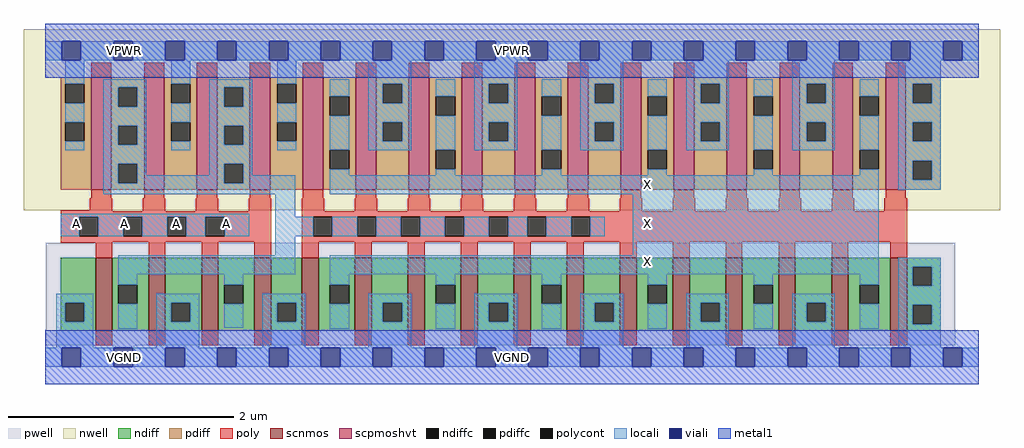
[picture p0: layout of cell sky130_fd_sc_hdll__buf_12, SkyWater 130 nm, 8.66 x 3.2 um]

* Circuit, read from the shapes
.subckt sky130_fd_sc_hdll__buf_12 A VGND VNB VPB VPWR X
XM1 n1 A VGND VNB sky130_fd_pr__nfet_01v8 w=0.65 l=0.15 m=4
XM2 X n1 VGND VNB sky130_fd_pr__nfet_01v8 w=0.65 l=0.15 m=12
XM3 n1 A VPWR VPB sky130_fd_pr__pfet_01v8_hvt w=1 l=0.18 m=4
XM4 X n1 VPWR VPB sky130_fd_pr__pfet_01v8_hvt w=1 l=0.18 m=12
.ends

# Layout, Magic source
magic
tech sky130A
magscale 1 2
<< nwell >>
rect -38 261 1694 582
<< pwell >>
rect 1 21 1615 203
rect 124 -17 158 21
<< scnmos >>
rect 89 47 119 177
rect 183 47 213 177
rect 277 47 307 177
rect 371 47 401 177
rect 455 47 485 177
rect 549 47 579 177
rect 643 47 673 177
rect 737 47 767 177
rect 831 47 861 177
rect 925 47 955 177
rect 1019 47 1049 177
rect 1113 47 1143 177
rect 1207 47 1237 177
rect 1301 47 1331 177
rect 1395 47 1425 177
rect 1499 47 1529 177
<< scpmoshvt >>
rect 81 297 117 497
rect 175 297 211 497
rect 269 297 305 497
rect 363 297 399 497
rect 457 297 493 497
rect 551 297 587 497
rect 645 297 681 497
rect 739 297 775 497
rect 833 297 869 497
rect 927 297 963 497
rect 1021 297 1057 497
rect 1115 297 1151 497
rect 1209 297 1245 497
rect 1303 297 1339 497
rect 1397 297 1433 497
rect 1491 297 1527 497
<< ndiff >>
rect 27 97 89 177
rect 27 63 35 97
rect 69 63 89 97
rect 27 47 89 63
rect 119 129 183 177
rect 119 95 129 129
rect 163 95 183 129
rect 119 47 183 95
rect 213 97 277 177
rect 213 63 223 97
rect 257 63 277 97
rect 213 47 277 63
rect 307 129 371 177
rect 307 95 317 129
rect 351 95 371 129
rect 307 47 371 95
rect 401 97 455 177
rect 401 63 411 97
rect 445 63 455 97
rect 401 47 455 63
rect 485 129 549 177
rect 485 95 505 129
rect 539 95 549 129
rect 485 47 549 95
rect 579 97 643 177
rect 579 63 599 97
rect 633 63 643 97
rect 579 47 643 63
rect 673 129 737 177
rect 673 95 693 129
rect 727 95 737 129
rect 673 47 737 95
rect 767 97 831 177
rect 767 63 787 97
rect 821 63 831 97
rect 767 47 831 63
rect 861 129 925 177
rect 861 95 881 129
rect 915 95 925 129
rect 861 47 925 95
rect 955 97 1019 177
rect 955 63 975 97
rect 1009 63 1019 97
rect 955 47 1019 63
rect 1049 129 1113 177
rect 1049 95 1069 129
rect 1103 95 1113 129
rect 1049 47 1113 95
rect 1143 97 1207 177
rect 1143 63 1163 97
rect 1197 63 1207 97
rect 1143 47 1207 63
rect 1237 129 1301 177
rect 1237 95 1257 129
rect 1291 95 1301 129
rect 1237 47 1301 95
rect 1331 97 1395 177
rect 1331 63 1351 97
rect 1385 63 1395 97
rect 1331 47 1395 63
rect 1425 129 1499 177
rect 1425 95 1445 129
rect 1479 95 1499 129
rect 1425 47 1499 95
rect 1529 161 1589 177
rect 1529 127 1539 161
rect 1573 127 1589 161
rect 1529 93 1589 127
rect 1529 59 1539 93
rect 1573 59 1589 93
rect 1529 47 1589 59
<< pdiff >>
rect 27 485 81 497
rect 27 451 35 485
rect 69 451 81 485
rect 27 417 81 451
rect 27 383 35 417
rect 69 383 81 417
rect 27 297 81 383
rect 117 479 175 497
rect 117 445 129 479
rect 163 445 175 479
rect 117 411 175 445
rect 117 377 129 411
rect 163 377 175 411
rect 117 343 175 377
rect 117 309 129 343
rect 163 309 175 343
rect 117 297 175 309
rect 211 485 269 497
rect 211 451 223 485
rect 257 451 269 485
rect 211 417 269 451
rect 211 383 223 417
rect 257 383 269 417
rect 211 297 269 383
rect 305 479 363 497
rect 305 445 317 479
rect 351 445 363 479
rect 305 411 363 445
rect 305 377 317 411
rect 351 377 363 411
rect 305 343 363 377
rect 305 309 317 343
rect 351 309 363 343
rect 305 297 363 309
rect 399 485 457 497
rect 399 451 411 485
rect 445 451 457 485
rect 399 417 457 451
rect 399 383 411 417
rect 445 383 457 417
rect 399 297 457 383
rect 493 463 551 497
rect 493 429 505 463
rect 539 429 551 463
rect 493 368 551 429
rect 493 334 505 368
rect 539 334 551 368
rect 493 297 551 334
rect 587 485 645 497
rect 587 451 599 485
rect 633 451 645 485
rect 587 417 645 451
rect 587 383 599 417
rect 633 383 645 417
rect 587 297 645 383
rect 681 463 739 497
rect 681 429 693 463
rect 727 429 739 463
rect 681 368 739 429
rect 681 334 693 368
rect 727 334 739 368
rect 681 297 739 334
rect 775 485 833 497
rect 775 451 787 485
rect 821 451 833 485
rect 775 417 833 451
rect 775 383 787 417
rect 821 383 833 417
rect 775 297 833 383
rect 869 463 927 497
rect 869 429 881 463
rect 915 429 927 463
rect 869 368 927 429
rect 869 334 881 368
rect 915 334 927 368
rect 869 297 927 334
rect 963 485 1021 497
rect 963 451 975 485
rect 1009 451 1021 485
rect 963 417 1021 451
rect 963 383 975 417
rect 1009 383 1021 417
rect 963 297 1021 383
rect 1057 463 1115 497
rect 1057 429 1069 463
rect 1103 429 1115 463
rect 1057 368 1115 429
rect 1057 334 1069 368
rect 1103 334 1115 368
rect 1057 297 1115 334
rect 1151 485 1209 497
rect 1151 451 1163 485
rect 1197 451 1209 485
rect 1151 417 1209 451
rect 1151 383 1163 417
rect 1197 383 1209 417
rect 1151 297 1209 383
rect 1245 463 1303 497
rect 1245 429 1257 463
rect 1291 429 1303 463
rect 1245 368 1303 429
rect 1245 334 1257 368
rect 1291 334 1303 368
rect 1245 297 1303 334
rect 1339 485 1397 497
rect 1339 451 1351 485
rect 1385 451 1397 485
rect 1339 417 1397 451
rect 1339 383 1351 417
rect 1385 383 1397 417
rect 1339 297 1397 383
rect 1433 463 1491 497
rect 1433 429 1445 463
rect 1479 429 1491 463
rect 1433 368 1491 429
rect 1433 334 1445 368
rect 1479 334 1491 368
rect 1433 297 1491 334
rect 1527 485 1589 497
rect 1527 451 1539 485
rect 1573 451 1589 485
rect 1527 417 1589 451
rect 1527 383 1539 417
rect 1573 383 1589 417
rect 1527 349 1589 383
rect 1527 315 1539 349
rect 1573 315 1589 349
rect 1527 297 1589 315
<< ndiffc >>
rect 35 63 69 97
rect 129 95 163 129
rect 223 63 257 97
rect 317 95 351 129
rect 411 63 445 97
rect 505 95 539 129
rect 599 63 633 97
rect 693 95 727 129
rect 787 63 821 97
rect 881 95 915 129
rect 975 63 1009 97
rect 1069 95 1103 129
rect 1163 63 1197 97
rect 1257 95 1291 129
rect 1351 63 1385 97
rect 1445 95 1479 129
rect 1539 127 1573 161
rect 1539 59 1573 93
<< pdiffc >>
rect 35 451 69 485
rect 35 383 69 417
rect 129 445 163 479
rect 129 377 163 411
rect 129 309 163 343
rect 223 451 257 485
rect 223 383 257 417
rect 317 445 351 479
rect 317 377 351 411
rect 317 309 351 343
rect 411 451 445 485
rect 411 383 445 417
rect 505 429 539 463
rect 505 334 539 368
rect 599 451 633 485
rect 599 383 633 417
rect 693 429 727 463
rect 693 334 727 368
rect 787 451 821 485
rect 787 383 821 417
rect 881 429 915 463
rect 881 334 915 368
rect 975 451 1009 485
rect 975 383 1009 417
rect 1069 429 1103 463
rect 1069 334 1103 368
rect 1163 451 1197 485
rect 1163 383 1197 417
rect 1257 429 1291 463
rect 1257 334 1291 368
rect 1351 451 1385 485
rect 1351 383 1385 417
rect 1445 429 1479 463
rect 1445 334 1479 368
rect 1539 451 1573 485
rect 1539 383 1573 417
rect 1539 315 1573 349
<< poly >>
rect 81 497 117 523
rect 175 497 211 523
rect 269 497 305 523
rect 363 497 399 523
rect 457 497 493 523
rect 551 497 587 523
rect 645 497 681 523
rect 739 497 775 523
rect 833 497 869 523
rect 927 497 963 523
rect 1021 497 1057 523
rect 1115 497 1151 523
rect 1209 497 1245 523
rect 1303 497 1339 523
rect 1397 497 1433 523
rect 1491 497 1527 523
rect 81 282 117 297
rect 175 282 211 297
rect 269 282 305 297
rect 363 282 399 297
rect 457 282 493 297
rect 551 282 587 297
rect 645 282 681 297
rect 739 282 775 297
rect 833 282 869 297
rect 927 282 963 297
rect 1021 282 1057 297
rect 1115 282 1151 297
rect 1209 282 1245 297
rect 1303 282 1339 297
rect 1397 282 1433 297
rect 1491 282 1527 297
rect 79 261 119 282
rect 27 259 119 261
rect 173 259 213 282
rect 267 259 307 282
rect 361 259 401 282
rect 27 249 401 259
rect 27 215 60 249
rect 94 215 138 249
rect 172 215 216 249
rect 250 215 284 249
rect 318 215 401 249
rect 27 205 401 215
rect 27 203 119 205
rect 89 177 119 203
rect 183 177 213 205
rect 277 177 307 205
rect 371 177 401 205
rect 455 259 495 282
rect 549 259 589 282
rect 643 259 683 282
rect 737 259 777 282
rect 831 259 871 282
rect 925 259 965 282
rect 1019 259 1059 282
rect 1113 259 1153 282
rect 1207 259 1247 282
rect 1301 259 1341 282
rect 1395 259 1435 282
rect 1489 259 1529 282
rect 455 249 1529 259
rect 455 215 475 249
rect 509 215 553 249
rect 587 215 631 249
rect 665 215 709 249
rect 743 215 787 249
rect 821 215 855 249
rect 889 215 933 249
rect 967 215 1529 249
rect 455 205 1529 215
rect 455 177 485 205
rect 549 177 579 205
rect 643 177 673 205
rect 737 177 767 205
rect 831 177 861 205
rect 925 177 955 205
rect 1019 177 1049 205
rect 1113 177 1143 205
rect 1207 177 1237 205
rect 1301 177 1331 205
rect 1395 177 1425 205
rect 1499 177 1529 205
rect 89 21 119 47
rect 183 21 213 47
rect 277 21 307 47
rect 371 21 401 47
rect 455 21 485 47
rect 549 21 579 47
rect 643 21 673 47
rect 737 21 767 47
rect 831 21 861 47
rect 925 21 955 47
rect 1019 21 1049 47
rect 1113 21 1143 47
rect 1207 21 1237 47
rect 1301 21 1331 47
rect 1395 21 1425 47
rect 1499 21 1529 47
<< polycont >>
rect 60 215 94 249
rect 138 215 172 249
rect 216 215 250 249
rect 284 215 318 249
rect 475 215 509 249
rect 553 215 587 249
rect 631 215 665 249
rect 709 215 743 249
rect 787 215 821 249
rect 855 215 889 249
rect 933 215 967 249
<< locali >>
rect 0 527 29 561
rect 63 527 121 561
rect 155 527 213 561
rect 247 527 305 561
rect 339 527 397 561
rect 431 527 489 561
rect 523 527 581 561
rect 615 527 673 561
rect 707 527 765 561
rect 799 527 857 561
rect 891 527 949 561
rect 983 527 1041 561
rect 1075 527 1133 561
rect 1167 527 1225 561
rect 1259 527 1317 561
rect 1351 527 1409 561
rect 1443 527 1501 561
rect 1535 527 1593 561
rect 1627 527 1656 561
rect 35 485 69 527
rect 35 417 69 451
rect 35 367 69 383
rect 103 479 179 493
rect 103 445 129 479
rect 163 445 179 479
rect 103 411 179 445
rect 103 377 129 411
rect 163 377 179 411
rect 103 343 179 377
rect 223 485 257 527
rect 223 417 257 451
rect 223 367 257 383
rect 291 479 367 493
rect 291 445 317 479
rect 351 445 367 479
rect 291 411 367 445
rect 291 377 317 411
rect 351 377 367 411
rect 103 309 129 343
rect 163 323 179 343
rect 291 343 367 377
rect 411 485 445 527
rect 411 417 445 451
rect 411 367 445 383
rect 505 463 539 493
rect 505 368 539 429
rect 291 323 317 343
rect 163 309 317 323
rect 351 323 367 343
rect 573 485 649 527
rect 573 451 599 485
rect 633 451 649 485
rect 573 417 649 451
rect 573 383 599 417
rect 633 383 649 417
rect 573 367 649 383
rect 693 463 727 493
rect 693 368 727 429
rect 505 323 539 334
rect 761 485 837 527
rect 761 451 787 485
rect 821 451 837 485
rect 761 417 837 451
rect 761 383 787 417
rect 821 383 837 417
rect 761 367 837 383
rect 881 463 915 493
rect 881 368 915 429
rect 693 323 727 334
rect 949 485 1025 527
rect 949 451 975 485
rect 1009 451 1025 485
rect 949 417 1025 451
rect 949 383 975 417
rect 1009 383 1025 417
rect 949 367 1025 383
rect 1069 463 1103 493
rect 1069 368 1103 429
rect 881 323 915 334
rect 1137 485 1213 527
rect 1137 451 1163 485
rect 1197 451 1213 485
rect 1137 417 1213 451
rect 1137 383 1163 417
rect 1197 383 1213 417
rect 1137 367 1213 383
rect 1257 463 1291 493
rect 1257 368 1291 429
rect 1069 323 1103 334
rect 1325 485 1401 527
rect 1325 451 1351 485
rect 1385 451 1401 485
rect 1325 417 1401 451
rect 1325 383 1351 417
rect 1385 383 1401 417
rect 1325 367 1401 383
rect 1445 463 1479 493
rect 1445 368 1479 429
rect 1257 323 1291 334
rect 1445 323 1479 334
rect 351 309 443 323
rect 103 289 443 309
rect 505 289 1479 323
rect 1513 485 1589 527
rect 1513 451 1539 485
rect 1573 451 1589 485
rect 1513 417 1589 451
rect 1513 383 1539 417
rect 1573 383 1589 417
rect 1513 349 1589 383
rect 1513 315 1539 349
rect 1573 315 1589 349
rect 1513 297 1589 315
rect 27 249 362 255
rect 27 215 60 249
rect 94 215 138 249
rect 172 215 216 249
rect 250 215 284 249
rect 318 215 362 249
rect 408 249 443 289
rect 408 215 475 249
rect 509 215 553 249
rect 587 215 631 249
rect 665 215 709 249
rect 743 215 787 249
rect 821 215 855 249
rect 889 215 933 249
rect 967 215 993 249
rect 408 181 443 215
rect 1042 181 1479 289
rect 129 147 443 181
rect 505 147 1479 181
rect 129 129 163 147
rect 19 97 85 113
rect 19 63 35 97
rect 69 63 85 97
rect 19 17 85 63
rect 317 129 351 147
rect 129 51 163 95
rect 197 97 273 113
rect 197 63 223 97
rect 257 63 273 97
rect 197 17 273 63
rect 505 129 539 147
rect 317 52 351 95
rect 385 97 461 113
rect 385 63 411 97
rect 445 63 461 97
rect 385 17 461 63
rect 693 129 727 147
rect 505 51 539 95
rect 573 97 649 113
rect 573 63 599 97
rect 633 63 649 97
rect 573 17 649 63
rect 881 129 915 147
rect 693 51 727 95
rect 761 97 837 113
rect 761 63 787 97
rect 821 63 837 97
rect 761 17 837 63
rect 1069 129 1103 147
rect 881 51 915 95
rect 949 97 1025 113
rect 949 63 975 97
rect 1009 63 1025 97
rect 949 17 1025 63
rect 1257 129 1291 147
rect 1069 51 1103 95
rect 1137 97 1213 113
rect 1137 63 1163 97
rect 1197 63 1213 97
rect 1137 17 1213 63
rect 1445 129 1479 147
rect 1257 51 1291 95
rect 1325 97 1401 113
rect 1325 63 1351 97
rect 1385 63 1401 97
rect 1325 17 1401 63
rect 1445 51 1479 95
rect 1513 161 1589 177
rect 1513 127 1539 161
rect 1573 127 1589 161
rect 1513 93 1589 127
rect 1513 59 1539 93
rect 1573 59 1589 93
rect 1513 17 1589 59
rect 0 -17 29 17
rect 63 -17 121 17
rect 155 -17 213 17
rect 247 -17 305 17
rect 339 -17 397 17
rect 431 -17 489 17
rect 523 -17 581 17
rect 615 -17 673 17
rect 707 -17 765 17
rect 799 -17 857 17
rect 891 -17 949 17
rect 983 -17 1041 17
rect 1075 -17 1133 17
rect 1167 -17 1225 17
rect 1259 -17 1317 17
rect 1351 -17 1409 17
rect 1443 -17 1501 17
rect 1535 -17 1593 17
rect 1627 -17 1656 17
<< viali >>
rect 29 527 63 561
rect 121 527 155 561
rect 213 527 247 561
rect 305 527 339 561
rect 397 527 431 561
rect 489 527 523 561
rect 581 527 615 561
rect 673 527 707 561
rect 765 527 799 561
rect 857 527 891 561
rect 949 527 983 561
rect 1041 527 1075 561
rect 1133 527 1167 561
rect 1225 527 1259 561
rect 1317 527 1351 561
rect 1409 527 1443 561
rect 1501 527 1535 561
rect 1593 527 1627 561
rect 29 -17 63 17
rect 121 -17 155 17
rect 213 -17 247 17
rect 305 -17 339 17
rect 397 -17 431 17
rect 489 -17 523 17
rect 581 -17 615 17
rect 673 -17 707 17
rect 765 -17 799 17
rect 857 -17 891 17
rect 949 -17 983 17
rect 1041 -17 1075 17
rect 1133 -17 1167 17
rect 1225 -17 1259 17
rect 1317 -17 1351 17
rect 1409 -17 1443 17
rect 1501 -17 1535 17
rect 1593 -17 1627 17
<< metal1 >>
rect 0 561 1656 592
rect 0 527 29 561
rect 63 527 121 561
rect 155 527 213 561
rect 247 527 305 561
rect 339 527 397 561
rect 431 527 489 561
rect 523 527 581 561
rect 615 527 673 561
rect 707 527 765 561
rect 799 527 857 561
rect 891 527 949 561
rect 983 527 1041 561
rect 1075 527 1133 561
rect 1167 527 1225 561
rect 1259 527 1317 561
rect 1351 527 1409 561
rect 1443 527 1501 561
rect 1535 527 1593 561
rect 1627 527 1656 561
rect 0 496 1656 527
rect 0 17 1656 48
rect 0 -17 29 17
rect 63 -17 121 17
rect 155 -17 213 17
rect 247 -17 305 17
rect 339 -17 397 17
rect 431 -17 489 17
rect 523 -17 581 17
rect 615 -17 673 17
rect 707 -17 765 17
rect 799 -17 857 17
rect 891 -17 949 17
rect 983 -17 1041 17
rect 1075 -17 1133 17
rect 1167 -17 1225 17
rect 1259 -17 1317 17
rect 1351 -17 1409 17
rect 1443 -17 1501 17
rect 1535 -17 1593 17
rect 1627 -17 1656 17
rect 0 -48 1656 -17
<< labels >>
flabel locali s 304 221 338 255 0 FreeSans 200 0 0 0 A
port 1 nsew signal input
flabel locali s 1052 153 1086 187 0 FreeSans 200 0 0 0 X
port 6 nsew signal output
flabel locali s 1052 221 1086 255 0 FreeSans 200 0 0 0 X
port 6 nsew signal output
flabel locali s 215 221 249 255 0 FreeSans 200 0 0 0 A
port 1 nsew signal input
flabel locali s 124 -17 158 17 0 FreeSans 200 0 0 0 VGND
port 2 nsew ground bidirectional
flabel locali s 124 527 158 561 0 FreeSans 200 0 0 0 VPWR
port 5 nsew power bidirectional
flabel locali s 1052 289 1086 323 0 FreeSans 200 0 0 0 X
port 6 nsew signal output
flabel locali s 124 221 158 255 0 FreeSans 200 0 0 0 A
port 1 nsew signal input
flabel locali s 39 221 73 255 0 FreeSans 200 0 0 0 A
port 1 nsew signal input
flabel nwell s 124 527 158 561 0 FreeSans 200 0 0 0 VPB
port 4 nsew power bidirectional
flabel pwell s 124 -17 158 17 0 FreeSans 200 0 0 0 VNB
port 3 nsew ground bidirectional
flabel metal1 s 124 -17 158 17 0 FreeSans 200 0 0 0 VGND
port 2 nsew ground bidirectional
flabel metal1 s 124 527 158 561 0 FreeSans 200 0 0 0 VPWR
port 5 nsew power bidirectional
rlabel metal1 s 0 -48 1656 48 1 VGND
port 2 nsew ground bidirectional
rlabel metal1 s 0 496 1656 592 1 VPWR
port 5 nsew power bidirectional
<< properties >>
string LEFsite unithd
string LEFclass CORE
string FIXED_BBOX 0 0 1656 544
string GDS_FILE $PDKPATH/libs.ref/sky130_fd_sc_hdll/gds/sky130_fd_sc_hdll.gds
string LEFsymmetry X Y R90
string GDS_END 1913642
string GDS_START 1901780
string LEFproperties maskLayoutSubType "abstract" prCellType "standard" originalViewName "layout"
<< end >>
